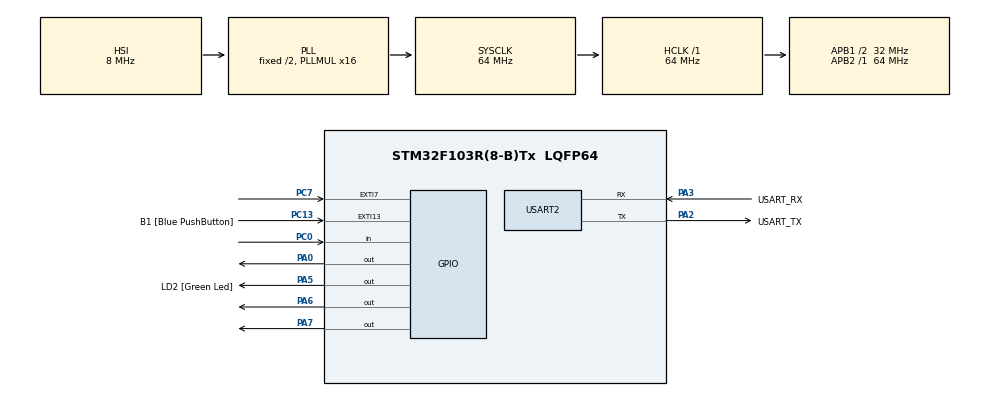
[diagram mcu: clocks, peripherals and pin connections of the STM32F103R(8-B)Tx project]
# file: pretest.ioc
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Mcu.Family=STM32F1
Mcu.Name=STM32F103R(8-B)Tx
Mcu.Package=LQFP64
NVIC.EXTI15_10_IRQn=true\:0\:0\:false\:false\:true\:true\:true
NVIC.EXTI9_5_IRQn=true\:0\:0\:false\:false\:true\:true\:true
NVIC.PriorityGroup=NVIC_PRIORITYGROUP_4
NVIC.TIM2_IRQn=true\:0\:0\:false\:false\:true\:true\:true
NVIC.TIM3_IRQn=true\:0\:0\:false\:false\:true\:true\:true
PA0-WKUP.Signal=GPIO_Output
PA13.GPIO_Label=TMS
PA13.Mode=Serial_Wire
PA13.Signal=SYS_JTMS-SWDIO
PA14.GPIO_Label=TCK
PA14.Mode=Serial_Wire
PA14.Signal=SYS_JTCK-SWCLK
PA2.GPIO_Label=USART_TX
PA2.GPIO_Mode=GPIO_MODE_AF_PP
PA2.GPIO_PuPd=GPIO_NOPULL
PA2.GPIO_Speed=GPIO_SPEED_FREQ_LOW
PA2.Mode=Asynchronous
PA2.Signal=USART2_TX
PA3.GPIO_Label=USART_RX
PA3.GPIO_Mode=GPIO_MODE_AF_PP
PA3.GPIO_PuPd=GPIO_NOPULL
PA3.GPIO_Speed=GPIO_SPEED_FREQ_LOW
PA3.Mode=Asynchronous
PA3.Signal=USART2_RX
PA5.GPIO_Label=LD2 [Green Led]
PA5.GPIO_ModeDefaultOutputPP=GPIO_MODE_OUTPUT_PP
PA5.GPIO_PuPd=GPIO_NOPULL
PA5.GPIO_Speed=GPIO_SPEED_FREQ_LOW
PA5.Signal=GPIO_Output
PA6.Signal=GPIO_Output
PA7.Signal=GPIO_Output
PB3.GPIO_Label=SWO
PB3.Signal=SYS_JTDO-TRACESWO
PC0.Signal=GPIO_Input
PC13-TAMPER-RTC.GPIO_Label=B1 [Blue PushButton]
PC13-TAMPER-RTC.GPIO_PuPd=GPIO_NOPULL
PC13-TAMPER-RTC.Signal=GPXTI13
PC14-OSC32_IN.Mode=LSE-External-Oscillator
PC14-OSC32_IN.Signal=RCC_OSC32_IN
PC15-OSC32_OUT.Mode=LSE-External-Oscillator
PC15-OSC32_OUT.Signal=RCC_OSC32_OUT
PC7.GPIO_ModeDefaultEXTI=GPIO_MODE_IT_RISING
PC7.Signal=GPXTI7
PD0-OSC_IN.Mode=HSE-External-Clock-Source
PD0-OSC_IN.Signal=RCC_OSC_IN
PD1-OSC_OUT.Mode=HSE-External-Clock-Source
PD1-OSC_OUT.Signal=RCC_OSC_OUT
ProjectManager.HeapSize=0x200
ProjectManager.StackSize=0x400
ProjectManager.TargetToolchain=STM32CubeIDE
RCC.AHBFreq_Value=64000000
RCC.APB1CLKDivider=RCC_HCLK_DIV2
RCC.APB1Freq_Value=32000000
RCC.APB1TimFreq_Value=64000000
RCC.APB2Freq_Value=64000000
RCC.APB2TimFreq_Value=64000000
RCC.HCLKFreq_Value=64000000
RCC.PLLMUL=RCC_PLL_MUL16
RCC.RTCClockSelection=RCC_RTCCLKSOURCE_LSE
RCC.SYSCLKFreq_VALUE=64000000
RCC.SYSCLKSource=RCC_SYSCLKSOURCE_PLLCLK
RCC.USBFreq_Value=64000000
TIM2.Period=1000-1
TIM2.Prescaler=64-1
TIM3.Period=26-1
TIM3.Prescaler=64-1
USART2.VirtualMode=VM_ASYNC
VP_TIM2_VS_ClockSourceINT.Mode=Internal
VP_TIM3_VS_ClockSourceINT.Mode=Internal
board=NUCLEO-F103RB

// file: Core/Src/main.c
/* USER CODE BEGIN Header */
/**
  ******************************************************************************
  * @file           : main.c
  * @brief          : Main program body
  ******************************************************************************
  * @attention
  *
  * <h2><center>&copy; Copyright (c) 2022 STMicroelectronics.
  * All rights reserved.</center></h2>
  *
  * This software component is licensed by ST under BSD 3-Clause license,
  * the "License"; You may not use this file except in compliance with the
  * License. You may obtain a copy of the License at:
  *                        opensource.org/licenses/BSD-3-Clause
  *
  ******************************************************************************
  */
/* USER CODE END Header */

#include "main.h"

/* USER CODE BEGIN Includes */

#include "stdio.h"

/* USER CODE END Includes */

/* USER CODE BEGIN PD */

#ifdef __GNUC__
  /* With GCC/RAISONANCE, small printf (option LD Linker->Libraries->Small printf
     set to 'Yes') calls __io_putchar() */
  #define PUTCHAR_PROTOTYPE int __io_putchar(int ch)
#else
  #define PUTCHAR_PROTOTYPE int fputc(int ch, FILE *f)
#endif /* __GNUC__ */

typedef struct ts_rxType{
	char start;
	unsigned char data;
	char parity;
	char stop;
	char error;
} rxType;

/* USER CODE END PD */

TIM_HandleTypeDef htim2;
TIM_HandleTypeDef htim3;

UART_HandleTypeDef huart2;

/* USER CODE BEGIN PV */

//LED On,Off Variable

char pc13flag; //PC13 (Unused)
char pc7flag; //PC7
int LED_pa6_cnt,LED_pa6_Limit; //PA6 counter and Limits
int LED_pa7_cnt,LED_pa7_Limit; //PA7 counter and Limits

//

//US100 Sonic Sensor Variable

//TX VAR

char Uart_Tx_Parity_Mode;
int tim2_cnt;
char tim2_flag;
char tim2_trigger;
char chUartTxData[32];

//TX VAR

//RX VAR

char Uart_Rx_Parity_Mode;
rxType rxData[32]; //rxdata structure
int rxByte_cnt;
int rxBit_cnt;
int rxBit_value;
int rxSamp_cnt;
int rxParity_bit;
char Uart_Rx_flag;
char Uart_Rx_active;
char Uart_Rx_Temp;
char Uart_Rx_trigger;
char Uart_Rx_data;
char Uart_Rx_parity;
char Uart_Rx_stop;

//RX VAR

//global var

int globalCounter = 0;

int led5blinker = 0;

short actState = 0; //0 default, 1 distance 2 temp
short superActState = 0;

GPIO_PinState pa8pin, pb8pin;
GPIO_PinState pc13pin;

//

/* USER CODE END PV */

void SystemClock_Config(void);
static void MX_GPIO_Init(void);
static void MX_USART2_UART_Init(void);
static void MX_TIM2_Init(void);
static void MX_TIM3_Init(void);
/* USER CODE BEGIN PFP */

void Uart_Tx_Byte(char TxData, char Parity);
void parScan();
void doUS100Temp();
void doUS100Distance();
int Uart_Tx_multiByte(int Tx_cnt, char* TxData, char Parity);

/* USER CODE END PFP */

/* USER CODE BEGIN 0 */

PUTCHAR_PROTOTYPE
{
  /* Place your implementation of fputc here */
  /* e.g. write a character to the EVAL_COM1 and Loop until the end of transmission */
  HAL_UART_Transmit(&huart2, (uint8_t *)&ch, 1, 0xFFFF);

  return ch;
}

//Button Event
void HAL_GPIO_EXTI_Callback(uint16_t GPIO_Pin)
{
	if(GPIO_Pin == GPIO_PIN_13){
		//Button13 (Unused)
		  HAL_GPIO_WritePin(GPIOA, GPIO_PIN_7, GPIO_PIN_SET);
		  HAL_GPIO_WritePin(GPIOA, GPIO_PIN_6, GPIO_PIN_RESET);
		actState = 2;

	}

	if(GPIO_Pin == GPIO_PIN_7){ //Button7
		  HAL_GPIO_WritePin(GPIOA, GPIO_PIN_7, GPIO_PIN_RESET);
		  HAL_GPIO_WritePin(GPIOA, GPIO_PIN_6, GPIO_PIN_SET);

		actState = 1;
	}

}

//Timer
void HAL_TIM_PeriodElapsedCallback(TIM_HandleTypeDef *htim)
{
	if(htim->Instance == htim2.Instance){ //timer2 for led blink

		led5blinker++;

		if(led5blinker >= 200){
			led5blinker = 0;

			HAL_GPIO_TogglePin(GPIOA, GPIO_PIN_5);
		}

	}//end timer 2

	if(htim->Instance == htim3.Instance){
		if(tim2_flag == 'y'){
			globalCounter = globalCounter + 1;

			if(globalCounter >= 4){
				tim2_cnt = tim2_cnt + 1;
				tim2_trigger = 'y';

				globalCounter = 0;
			}
		}

		if(Uart_Rx_flag == 'y'){
			if(Uart_Rx_active == 'n'){
				Uart_Rx_Temp <<= 1;
				if(HAL_GPIO_ReadPin(GPIOC, GPIO_PIN_0) == GPIO_PIN_SET){
					Uart_Rx_Temp += 1;
				}
				if((Uart_Rx_Temp & 0x0f) == 0x0c){ //if data start
					Uart_Rx_active = 'y'; //make active yes
					Uart_Rx_Temp = 0x00; //rid Temp variable
					rxByte_cnt += 1; //Count one Byte
					rxData[rxByte_cnt].start = 'y'; //start yes
					rxData[rxByte_cnt].data = 0x00; //data 0x00
					rxData[rxByte_cnt].parity = 'n'; //parity n
					rxData[rxByte_cnt].stop = 'x'; //stop x
					rxBit_cnt = 0; //bit count 0
					rxSamp_cnt = 0; // Sample count 0
					rxParity_bit = 0; //parity 0
					Uart_Rx_trigger = 'n'; //trigger no
					Uart_Rx_data = 'n'; //data no
					Uart_Rx_parity = 'n'; //parity none
					Uart_Rx_stop = 'n'; //stop no
				}
			}else{ //if rx active yes
				Uart_Rx_trigger = 'n';
				rxSamp_cnt += 1;
				if((rxSamp_cnt % 4) == 0){
					//try 4 sampling
					Uart_Rx_trigger = 'y'; //and then trigger is "yes"
					if(GPIO_PIN_SET == HAL_GPIO_ReadPin(GPIOC, GPIO_PIN_0)){
						rxBit_value = 1;
						//if value is true, Bitvalue set to 1
					}else{
						rxBit_value = 0;
						//if false, Bitvalue set to 0
					}
					rxBit_cnt += 1;
					//add bit counter
					if((1 <= rxBit_cnt) && (rxBit_cnt <= 8)){
						//bit counter is between 1 and 8
						Uart_Rx_data = 'y'; //make data "yes"
					}else if(9 == rxBit_cnt){
						//bit counter
						Uart_Rx_data = 'n'; //data no
						if('n' == Uart_Rx_Parity_Mode){
							//if parity "no"
							Uart_Rx_parity = 'n'; //parity no
							Uart_Rx_stop = 'y'; //stop yes
						}else if('e' == Uart_Rx_Parity_Mode){
							//if parity "even"
							Uart_Rx_parity = 'y'; //parity yes
						}else if('o' == Uart_Rx_Parity_Mode){
							//if parity "odd"
							Uart_Rx_parity = 'y'; //parity yes
						}
					}else if(10 == rxBit_cnt){
						Uart_Rx_parity = 'n'; //parity no
						Uart_Rx_stop = 'y'; //stop yes!
					}
				}
				if(('y' == Uart_Rx_trigger) && ('y' == Uart_Rx_data)){
					//if trigger yes, so if you were success sampling
					//and data is yes
					rxData[rxByte_cnt].data >>= 1; //push bit to right as one
					if(1 == rxBit_value){
						//if bitvalue is one
						rxData[rxByte_cnt].data += 0x80;
						//write data 1 in MSB
						rxParity_bit += 1;
						//count parity bit
					}
				}
				if(('y' == Uart_Rx_trigger) && ('y' == Uart_Rx_parity)){
					//if sampling completed and parity is yes
					if('e' == Uart_Rx_Parity_Mode){
						//if parity e
						if(((rxParity_bit % 2) == 0) && (0 == rxBit_value)){
							//if bit is even, but any bit is not left
							rxData[rxByte_cnt].parity = 'e'; //set to 'e'
						}else if(((rxParity_bit % 2) == 1) && (1 == rxBit_value)){
							//if bit is odd and bit is still left
							rxData[rxByte_cnt].parity = 'e';//set to 'e'
						}else{
							rxData[rxByte_cnt].parity = 'f'; //else 'f'
						}
					}else if('o' == Uart_Rx_Parity_Mode){
						//if parity o
						if(((rxParity_bit % 2) == 0) && (1 == rxBit_value)){
							//if bit is even, and bit is still left
							rxData[rxByte_cnt].parity = 'o'; //set to 'o'

						}else if(((rxParity_bit % 2) == 1) && (0 == rxBit_value)){
							//if bit is odd, but any bit is not left;
							rxData[rxByte_cnt].parity = 'o'; //set to 'o'
						}else{
							rxData[rxByte_cnt].parity = 'f'; //else 'f'
						}
					}
				}
				if(('y' == Uart_Rx_trigger) && ('y' == Uart_Rx_stop)){

					Uart_Rx_active = 'n';
					//active set to n
					if(1 == rxBit_value){
						//if bitvalue is one
						rxData[rxByte_cnt].stop = 'y';
						//stop
					}else{
						rxData[rxByte_cnt].stop = 'n';
						//dont stop
					}
				}

			}

		}

	}

}

//loop code for check system is working

void parScan(){
	pa8pin = HAL_GPIO_ReadPin(GPIOA, GPIO_PIN_8);
	pb8pin = HAL_GPIO_ReadPin(GPIOB, GPIO_PIN_8);

	if((GPIO_PIN_SET == pa8pin) && (GPIO_PIN_RESET == pb8pin)){
	  Uart_Tx_Parity_Mode = 'e';
	  Uart_Rx_Parity_Mode = 'e';
	}else if((GPIO_PIN_RESET == pa8pin) && (GPIO_PIN_SET == pb8pin)){
	  Uart_Tx_Parity_Mode = 'o';
	  Uart_Rx_Parity_Mode = 'o';
	}else{
	  Uart_Tx_Parity_Mode = 'n';
	  Uart_Rx_Parity_Mode = 'n';
	}
}

void doUS100Distance(){
	Uart_Tx_Byte(0x55, 'n');
	printf("check distance\r\n");

	HAL_Delay(200);

	if(('n' == Uart_Rx_active) && (1 <= rxByte_cnt)){
		int resultDistance = (rxData[1].data << 8) + rxData[2].data;

		printf("distance : %d mm\r\n", resultDistance);

		rxByte_cnt = 0;
	}
}

//us100 4 temp

void doUS100Temp(){
	Uart_Tx_Byte(0x50, 'n');

	printf("check temp\r\n");

	HAL_Delay(200);

	if(('n' == Uart_Rx_active) && (1 <= rxByte_cnt)){
		printf("temp : %d\r\n", rxData[1].data - 45);

		rxByte_cnt = 0;
	}
}

//original TX_BYTE code
void Uart_Tx_Byte(char TxData, char Parity)
{
	char chExit = 'n';
	char chComp = 0x01;
	int ParityBit_cnt = 0;

	tim2_cnt = 0;
	tim2_flag = 'y';
	tim2_trigger = 'n';

	while(1){
		if(('y' == tim2_trigger) && (tim2_cnt == 1)){ // idle
			tim2_trigger = 'n';
			HAL_GPIO_WritePin(GPIOA, GPIO_PIN_0, GPIO_PIN_SET);
		}else if(('y' == tim2_trigger) && (tim2_cnt == 2)){ // start
			tim2_trigger = 'n';
			HAL_GPIO_WritePin(GPIOA, GPIO_PIN_0, GPIO_PIN_RESET);
		}else if(('y' == tim2_trigger) && (tim2_cnt == 3)){ // bit 0
			tim2_trigger = 'n';
			if((TxData & chComp) == chComp){
				HAL_GPIO_WritePin(GPIOA, GPIO_PIN_0, GPIO_PIN_SET);
				ParityBit_cnt += 1;
			}else{
				HAL_GPIO_WritePin(GPIOA, GPIO_PIN_0, GPIO_PIN_RESET);
			}
			chComp <<= 1;
		}else if(('y' == tim2_trigger) && (tim2_cnt == 4)){ // bit 1
			tim2_trigger = 'n';
			if((TxData & chComp) == chComp){
				HAL_GPIO_WritePin(GPIOA, GPIO_PIN_0, GPIO_PIN_SET);
				ParityBit_cnt += 1;
			}else{
				HAL_GPIO_WritePin(GPIOA, GPIO_PIN_0, GPIO_PIN_RESET);
			}
			chComp <<= 1;
		}else if(('y' == tim2_trigger) && (tim2_cnt == 5)){ // bit 2
			tim2_trigger = 'n';
			if((TxData & chComp) == chComp){
				HAL_GPIO_WritePin(GPIOA, GPIO_PIN_0, GPIO_PIN_SET);
				ParityBit_cnt += 1;
			}else{
				HAL_GPIO_WritePin(GPIOA, GPIO_PIN_0, GPIO_PIN_RESET);
			}
			chComp <<= 1;
		}else if(('y' == tim2_trigger) && (tim2_cnt == 6)){ // bit 3
			tim2_trigger = 'n';
			if((TxData & chComp) == chComp){
				HAL_GPIO_WritePin(GPIOA, GPIO_PIN_0, GPIO_PIN_SET);
				ParityBit_cnt += 1;
			}else{
				HAL_GPIO_WritePin(GPIOA, GPIO_PIN_0, GPIO_PIN_RESET);
			}
			chComp <<= 1;
		}else if(('y' == tim2_trigger) && (tim2_cnt == 7)){ // bit 4
			tim2_trigger = 'n';
			if((TxData & chComp) == chComp){
				HAL_GPIO_WritePin(GPIOA, GPIO_PIN_0, GPIO_PIN_SET);
				ParityBit_cnt += 1;
			}else{
				HAL_GPIO_WritePin(GPIOA, GPIO_PIN_0, GPIO_PIN_RESET);
			}
			chComp <<= 1;
		}else if(('y' == tim2_trigger) && (tim2_cnt == 8)){ // bit 5
			tim2_trigger = 'n';
			if((TxData & chComp) == chComp){
				HAL_GPIO_WritePin(GPIOA, GPIO_PIN_0, GPIO_PIN_SET);
				ParityBit_cnt += 1;
			}else{
				HAL_GPIO_WritePin(GPIOA, GPIO_PIN_0, GPIO_PIN_RESET);
			}
			chComp <<= 1;
		}else if(('y' == tim2_trigger) && (tim2_cnt == 9)){ // bit 6
			tim2_trigger = 'n';
			if((TxData & chComp) == chComp){
				HAL_GPIO_WritePin(GPIOA, GPIO_PIN_0, GPIO_PIN_SET);
				ParityBit_cnt += 1;
			}else{
				HAL_GPIO_WritePin(GPIOA, GPIO_PIN_0, GPIO_PIN_RESET);
			}
			chComp <<= 1;
		}else if(('y' == tim2_trigger) && (tim2_cnt == 10)){ // bit 7
			tim2_trigger = 'n';
			if((TxData & chComp) == chComp){
				HAL_GPIO_WritePin(GPIOA, GPIO_PIN_0, GPIO_PIN_SET);
				ParityBit_cnt += 1;
			}else{
				HAL_GPIO_WritePin(GPIOA, GPIO_PIN_0, GPIO_PIN_RESET);
			}
			chComp <<= 1;
		}
		else if(('y' == tim2_trigger) && (tim2_cnt == 11)){ // [parity : none/even/odd] or [stop]
			tim2_trigger = 'n';

			if(Parity == 'n'){
				HAL_GPIO_WritePin(GPIOA, GPIO_PIN_0, GPIO_PIN_SET);
				chExit = 'y';
			}else if(Parity == 'e'){
				if((ParityBit_cnt % 2) == 0){
					HAL_GPIO_WritePin(GPIOA, GPIO_PIN_0, GPIO_PIN_RESET);
				}else{
					HAL_GPIO_WritePin(GPIOA, GPIO_PIN_0, GPIO_PIN_SET);
				}

			}else if(Parity == 'o'){
				if((ParityBit_cnt % 2) == 1){
					HAL_GPIO_WritePin(GPIOA, GPIO_PIN_0, GPIO_PIN_RESET);
				}else{
					HAL_GPIO_WritePin(GPIOA, GPIO_PIN_0, GPIO_PIN_SET);
				}
			}

		}else if(('y' == tim2_trigger) && (tim2_cnt == 12)){ // stop

			HAL_GPIO_WritePin(GPIOA, GPIO_PIN_0, GPIO_PIN_SET);
			chExit = 'y';

		}
		if(('y' == tim2_trigger) && ('y' == chExit)){
			tim2_trigger = 'n';
			tim2_flag = 'n';
			break;
		}
	}
}
int Uart_Tx_multiByte(int Tx_cnt, char* TxData, char Parity)
{
	int m;

	for(m = 0; m < Tx_cnt; m++){
		Uart_Tx_Byte(TxData[m], Parity);
	}

	return(0);
}

/* USER CODE END 0 */

int main(void)
{
  /* USER CODE BEGIN 1 */
  HAL_StatusTypeDef tim2_it_start; //variable for check timer interupt status

  tim2_it_start = HAL_TIM_Base_Start_IT(&htim2); //read interupt status

  if(tim2_it_start == HAL_OK){
	  printf("Timer2 OK\r\n");
  }else{
	  printf("Timer2 ERROR!\r\n");
  }

  //init setting

  pc13flag = 'n'; //unused
  pc7flag = 'n';

  LED_pa6_cnt = 0;
  LED_pa6_Limit = SLOW6;
  LED_pa7_cnt = 0;
  LED_pa7_Limit = SLOW7;

  HAL_GPIO_WritePin(GPIOA, GPIO_PIN_6, GPIO_PIN_RESET);
  HAL_GPIO_WritePin(GPIOA, GPIO_PIN_7, GPIO_PIN_RESET);

  //US100 Sensor Code

  HAL_StatusTypeDef tim3_it_start;

  tim3_it_start = HAL_TIM_Base_Start_IT(&htim3);

  if(tim3_it_start == HAL_OK){
	  printf("Timer3 OK\r\n");
  }else{
	  printf("Timer3 ERROR!\r\n");
  }

  Uart_Rx_Parity_Mode = 'n'; // 'n':none, 'e':even, 'o':odd
  rxByte_cnt = 0;
  rxBit_cnt = 0;
  rxSamp_cnt = 0;
  Uart_Rx_flag = 'n';
  Uart_Rx_active = 'n';
  Uart_Rx_Temp = 0x00;

  Uart_Tx_Parity_Mode = 'n'; // 'n':none, 'e':even, 'o':odd
  tim2_cnt = 0;
  tim2_flag = 'n';
  tim2_trigger = 'n';
  HAL_GPIO_WritePin(GPIOA, GPIO_PIN_0, GPIO_PIN_SET);

  Uart_Rx_flag = 'y';
  Uart_Rx_active = 'n';

  chUartTxData[0] = 'a';

  actState = 0; //reset state
	superActState = 0;
  /* USER CODE END 1 */

  /* MCU Configuration--------------------------------------------------------*/

  /* Reset of all peripherals, Initializes the Flash interface and the Systick. */
  HAL_Init();

  /* Configure the system clock */
  SystemClock_Config();

  /* Initialize all configured peripherals */
  MX_GPIO_Init();
  MX_USART2_UART_Init();
  MX_TIM2_Init();
  MX_TIM3_Init();
  /* USER CODE BEGIN 2 */

  printf("executed\r\n");

  /* USER CODE END 2 */

  /* Infinite loop */
  while (1)
  {

    /* USER CODE BEGIN 3 */
	  parScan();

	  if(actState == 2){
		  doUS100Temp();
	  }else if(actState == 1){
		  doUS100Distance();
	  }

	  if(superActState = 0){
		  HAL_GPIO_WritePin(GPIOA, GPIO_PIN_7, GPIO_PIN_RESET);
		  HAL_GPIO_WritePin(GPIOA, GPIO_PIN_6, GPIO_PIN_RESET);
	  }else if(superActState == 1){
		  HAL_GPIO_WritePin(GPIOA, GPIO_PIN_7, GPIO_PIN_RESET);
		  HAL_GPIO_WritePin(GPIOA, GPIO_PIN_6, GPIO_PIN_SET);
	  }else if(superActState == 2){
		  HAL_GPIO_WritePin(GPIOA, GPIO_PIN_7, GPIO_PIN_SET);
		  HAL_GPIO_WritePin(GPIOA, GPIO_PIN_6, GPIO_PIN_RESET);
	  }

	  actState = 0;

  }
  /* USER CODE END 3 */
}

void SystemClock_Config(void)
{
  RCC_OscInitTypeDef RCC_OscInitStruct = {0};
  RCC_ClkInitTypeDef RCC_ClkInitStruct = {0};

  /** Initializes the CPU, AHB and APB busses clocks
  */
  RCC_OscInitStruct.OscillatorType = RCC_OSCILLATORTYPE_HSI;
  RCC_OscInitStruct.HSIState = RCC_HSI_ON;
  RCC_OscInitStruct.HSICalibrationValue = RCC_HSICALIBRATION_DEFAULT;
  RCC_OscInitStruct.PLL.PLLState = RCC_PLL_ON;
  RCC_OscInitStruct.PLL.PLLSource = RCC_PLLSOURCE_HSI_DIV2;
  RCC_OscInitStruct.PLL.PLLMUL = RCC_PLL_MUL16;
  if (HAL_RCC_OscConfig(&RCC_OscInitStruct) != HAL_OK)
  {
    Error_Handler();
  }
  /** Initializes the CPU, AHB and APB busses clocks
  */
  RCC_ClkInitStruct.ClockType = RCC_CLOCKTYPE_HCLK|RCC_CLOCKTYPE_SYSCLK
                              |RCC_CLOCKTYPE_PCLK1|RCC_CLOCKTYPE_PCLK2;
  RCC_ClkInitStruct.SYSCLKSource = RCC_SYSCLKSOURCE_PLLCLK;
  RCC_ClkInitStruct.AHBCLKDivider = RCC_SYSCLK_DIV1;
  RCC_ClkInitStruct.APB1CLKDivider = RCC_HCLK_DIV2;
  RCC_ClkInitStruct.APB2CLKDivider = RCC_HCLK_DIV1;

  if (HAL_RCC_ClockConfig(&RCC_ClkInitStruct, FLASH_LATENCY_2) != HAL_OK)
  {
    Error_Handler();
  }
}

static void MX_TIM2_Init(void)
{

  TIM_ClockConfigTypeDef sClockSourceConfig = {0};
  TIM_MasterConfigTypeDef sMasterConfig = {0};

  htim2.Instance = TIM2;
  htim2.Init.Prescaler = 64-1;
  htim2.Init.CounterMode = TIM_COUNTERMODE_UP;
  htim2.Init.Period = 1000-1;
  htim2.Init.ClockDivision = TIM_CLOCKDIVISION_DIV1;
  htim2.Init.AutoReloadPreload = TIM_AUTORELOAD_PRELOAD_DISABLE;
  if (HAL_TIM_Base_Init(&htim2) != HAL_OK)
  {
    Error_Handler();
  }
  sClockSourceConfig.ClockSource = TIM_CLOCKSOURCE_INTERNAL;
  if (HAL_TIM_ConfigClockSource(&htim2, &sClockSourceConfig) != HAL_OK)
  {
    Error_Handler();
  }
  sMasterConfig.MasterOutputTrigger = TIM_TRGO_RESET;
  sMasterConfig.MasterSlaveMode = TIM_MASTERSLAVEMODE_DISABLE;
  if (HAL_TIMEx_MasterConfigSynchronization(&htim2, &sMasterConfig) != HAL_OK)
  {
    Error_Handler();
  }

}

static void MX_TIM3_Init(void)
{

  TIM_ClockConfigTypeDef sClockSourceConfig = {0};
  TIM_MasterConfigTypeDef sMasterConfig = {0};

  htim3.Instance = TIM3;
  htim3.Init.Prescaler = 64-1;
  htim3.Init.CounterMode = TIM_COUNTERMODE_UP;
  htim3.Init.Period = 26-1;
  htim3.Init.ClockDivision = TIM_CLOCKDIVISION_DIV1;
  htim3.Init.AutoReloadPreload = TIM_AUTORELOAD_PRELOAD_DISABLE;
  if (HAL_TIM_Base_Init(&htim3) != HAL_OK)
  {
    Error_Handler();
  }
  sClockSourceConfig.ClockSource = TIM_CLOCKSOURCE_INTERNAL;
  if (HAL_TIM_ConfigClockSource(&htim3, &sClockSourceConfig) != HAL_OK)
  {
    Error_Handler();
  }
  sMasterConfig.MasterOutputTrigger = TIM_TRGO_RESET;
  sMasterConfig.MasterSlaveMode = TIM_MASTERSLAVEMODE_DISABLE;
  if (HAL_TIMEx_MasterConfigSynchronization(&htim3, &sMasterConfig) != HAL_OK)
  {
    Error_Handler();
  }

}

static void MX_USART2_UART_Init(void)
{

  huart2.Instance = USART2;
  huart2.Init.BaudRate = 115200;
  huart2.Init.WordLength = UART_WORDLENGTH_8B;
  huart2.Init.StopBits = UART_STOPBITS_1;
  huart2.Init.Parity = UART_PARITY_NONE;
  huart2.Init.Mode = UART_MODE_TX_RX;
  huart2.Init.HwFlowCtl = UART_HWCONTROL_NONE;
  huart2.Init.OverSampling = UART_OVERSAMPLING_16;
  if (HAL_UART_Init(&huart2) != HAL_OK)
  {
    Error_Handler();
  }

}

static void MX_GPIO_Init(void)
{
  GPIO_InitTypeDef GPIO_InitStruct = {0};

  /* GPIO Ports Clock Enable */
  __HAL_RCC_GPIOC_CLK_ENABLE();
  __HAL_RCC_GPIOD_CLK_ENABLE();
  __HAL_RCC_GPIOA_CLK_ENABLE();
  __HAL_RCC_GPIOB_CLK_ENABLE();

  /*Configure GPIO pin Output Level */
  HAL_GPIO_WritePin(GPIOA, GPIO_PIN_0|LD2_Pin|GPIO_PIN_6|GPIO_PIN_7, GPIO_PIN_RESET);

  /*Configure GPIO pins : B1_Pin PC7 */
  GPIO_InitStruct.Pin = B1_Pin|GPIO_PIN_7;
  GPIO_InitStruct.Mode = GPIO_MODE_IT_RISING;
  GPIO_InitStruct.Pull = GPIO_NOPULL;
  HAL_GPIO_Init(GPIOC, &GPIO_InitStruct);

  /*Configure GPIO pin : PC0 */
  GPIO_InitStruct.Pin = GPIO_PIN_0;
  GPIO_InitStruct.Mode = GPIO_MODE_INPUT;
  GPIO_InitStruct.Pull = GPIO_NOPULL;
  HAL_GPIO_Init(GPIOC, &GPIO_InitStruct);

  /*Configure GPIO pins : PA0 LD2_Pin PA6 PA7 */
  GPIO_InitStruct.Pin = GPIO_PIN_0|LD2_Pin|GPIO_PIN_6|GPIO_PIN_7;
  GPIO_InitStruct.Mode = GPIO_MODE_OUTPUT_PP;
  GPIO_InitStruct.Pull = GPIO_NOPULL;
  GPIO_InitStruct.Speed = GPIO_SPEED_FREQ_LOW;
  HAL_GPIO_Init(GPIOA, &GPIO_InitStruct);

  /* EXTI interrupt init*/
  HAL_NVIC_SetPriority(EXTI9_5_IRQn, 0, 0);
  HAL_NVIC_EnableIRQ(EXTI9_5_IRQn);

  HAL_NVIC_SetPriority(EXTI15_10_IRQn, 0, 0);
  HAL_NVIC_EnableIRQ(EXTI15_10_IRQn);

}

void Error_Handler(void)
{
}

/************************ (C) COPYRIGHT STMicroelectronics *****END OF FILE****/
